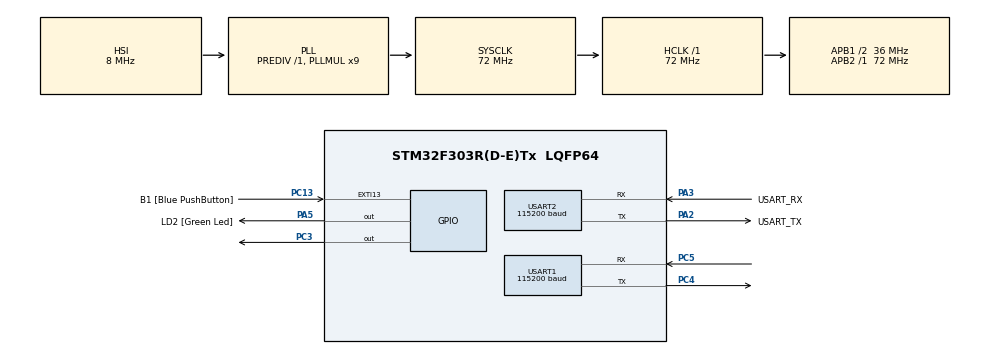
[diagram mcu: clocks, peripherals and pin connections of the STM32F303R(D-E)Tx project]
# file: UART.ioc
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Dma.Request0=USART2_RX
Dma.USART2_RX.0.Direction=DMA_PERIPH_TO_MEMORY
Dma.USART2_RX.0.Instance=DMA1_Channel6
Dma.USART2_RX.0.MemDataAlignment=DMA_MDATAALIGN_BYTE
Dma.USART2_RX.0.MemInc=DMA_MINC_ENABLE
Dma.USART2_RX.0.Mode=DMA_CIRCULAR
Dma.USART2_RX.0.PeriphDataAlignment=DMA_PDATAALIGN_BYTE
Dma.USART2_RX.0.PeriphInc=DMA_PINC_DISABLE
Dma.USART2_RX.0.Priority=DMA_PRIORITY_LOW
Mcu.Family=STM32F3
Mcu.Name=STM32F303R(D-E)Tx
Mcu.Package=LQFP64
NVIC.DMA1_Channel6_IRQn=true\:0\:0\:false\:false\:true\:false\:true\:true
NVIC.PriorityGroup=NVIC_PRIORITYGROUP_0
NVIC.USART1_IRQn=true\:0\:0\:false\:false\:true\:true\:true\:true
NVIC.USART2_IRQn=true\:0\:0\:false\:false\:true\:true\:true\:true
PA13.GPIO_Label=TMS
PA13.Mode=Serial_Wire
PA13.Signal=SYS_JTMS-SWDIO
PA14.GPIO_Label=TCK
PA14.Mode=Serial_Wire
PA14.Signal=SYS_JTCK-SWCLK
PA2.GPIO_Label=USART_TX
PA2.GPIO_Mode=GPIO_MODE_AF_PP
PA2.GPIO_PuPd=GPIO_NOPULL
PA2.GPIO_Speed=GPIO_SPEED_FREQ_LOW
PA2.Mode=Asynchronous
PA2.Signal=USART2_TX
PA3.GPIO_Label=USART_RX
PA3.GPIO_Mode=GPIO_MODE_AF_PP
PA3.GPIO_PuPd=GPIO_NOPULL
PA3.GPIO_Speed=GPIO_SPEED_FREQ_LOW
PA3.Mode=Asynchronous
PA3.Signal=USART2_RX
PA5.GPIO_Label=LD2 [Green Led]
PA5.GPIO_Mode=GPIO_MODE_OUTPUT_PP
PA5.GPIO_PuPd=GPIO_NOPULL
PA5.GPIO_Speed=GPIO_SPEED_FREQ_LOW
PA5.Signal=GPIO_Output
PB3.GPIO_Label=SWO
PB3.Signal=SYS_JTDO-TRACESWO
PC13.GPIO_Label=B1 [Blue PushButton]
PC13.GPIO_ModeDefaultEXTI=GPIO_MODE_IT_FALLING
PC13.Signal=GPXTI13
PC14-OSC32_IN.Mode=LSE-External-Oscillator
PC14-OSC32_IN.Signal=RCC_OSC32_IN
PC15-OSC32_OUT.Mode=LSE-External-Oscillator
PC15-OSC32_OUT.Signal=RCC_OSC32_OUT
PC3.Signal=GPIO_Output
PC4.Mode=Asynchronous
PC4.Signal=USART1_TX
PC5.Mode=Asynchronous
PC5.Signal=USART1_RX
PF0-OSC_IN.Mode=HSE-External-Clock-Source
PF0-OSC_IN.Signal=RCC_OSC_IN
PF1-OSC_OUT.Signal=RCC_OSC_OUT
ProjectManager.HeapSize=0x200
ProjectManager.StackSize=0x400
ProjectManager.TargetToolchain=STM32CubeIDE
RCC.AHBFreq_Value=72000000
RCC.APB1CLKDivider=RCC_HCLK_DIV2
RCC.APB1Freq_Value=36000000
RCC.APB1TimFreq_Value=72000000
RCC.APB2Freq_Value=72000000
RCC.APB2TimFreq_Value=72000000
RCC.CortexFreq_Value=72000000
RCC.HCLKFreq_Value=72000000
RCC.HSE_VALUE=8000000
RCC.HSI_VALUE=8000000
RCC.PLLM=8
RCC.PLLMUL=RCC_PLL_MUL9
RCC.PLLN=336
RCC.PLLP=RCC_PLLP_DIV4
RCC.PLLQ=7
RCC.RCC_PLLsource_Clock_Source_FROM_HSE=RCC_HSE_PREDIV_DIV2
RCC.SYSCLKFreq_VALUE=72000000
RCC.SYSCLKSourceVirtual=RCC_SYSCLKSOURCE_PLLCLK
RCC.USBFreq_Value=72000000
USART1.BaudRate=115200
USART1.VirtualMode-Asynchronous=VM_ASYNC
USART2.BaudRate=115200
USART2.VirtualMode-Asynchronous=VM_ASYNC
board=NUCLEO-F303RE

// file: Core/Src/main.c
/* USER CODE BEGIN Header */
/* USER CODE END Header */
#include "main.h"
#include "packet_sender.h"

UART_HandleTypeDef huart1;
UART_HandleTypeDef huart2;
DMA_HandleTypeDef hdma_usart2_rx;

/* USER CODE BEGIN PV */
uint8_t MSG[35] = {'\0'};
uint8_t X = 0;
uint8_t rx_data = 0;
uint8_t rx_buffer[256];
int rx_index = 0;
/* USER CODE END PV */

void SystemClock_Config(void);
static void MX_GPIO_Init(void);
static void MX_DMA_Init(void);
static void MX_USART2_UART_Init(void);
static void MX_USART1_UART_Init(void);
/* USER CODE BEGIN PFP */

void HAL_UART_RxCpltCallback(UART_HandleTypeDef *huart);
void ProcessReceivedData(char *data);
/* USER CODE END PFP */

int main(void)
{

  /* MCU Configuration--------------------------------------------------------*/

  /* Reset of all peripherals, Initializes the Flash interface and the Systick. */
  HAL_Init();

  /* Configure the system clock */
  SystemClock_Config();

  /* Initialize all configured peripherals */
  MX_GPIO_Init();
  MX_DMA_Init();
  MX_USART2_UART_Init();
  MX_USART1_UART_Init();

  /* USER CODE BEGIN 2 */

  // Initialize reception with interrupt
  HAL_UART_Receive_IT(&huart1, rx_buffer, 1);

  int cnt1 = 0;
  int cnt2 = 0;
  int cnt3 = 0;
  int cnt4 = 0;
  /* USER CODE END 2 */

  /* Infinite loop */
  /* USER CODE BEGIN WHILE */

  while (1)
  {
	          Send_Packet(cnt1, cnt2, cnt3, cnt4);
	          HAL_Delay(1000); // Delay de 1 segundo
     //sprintf(MSG, "Hello Dudes! Tracing X = %d\r\n", X);
	  //HAL_UART_Transmit(&huart1, MSG, sizeof(MSG), 100);
	  //HAL_Delay(500);
	  HAL_GPIO_TogglePin(GPIOA, LD2_Pin);
	  cnt1++;
	  cnt2 = cnt1+1;
	  cnt3 = cnt2+2;
	  cnt4 = cnt3+3;
	  //X++;
  }
    /* USER CODE END WHILE */

}

void SystemClock_Config(void)
{
  RCC_OscInitTypeDef RCC_OscInitStruct = {0};
  RCC_ClkInitTypeDef RCC_ClkInitStruct = {0};
  RCC_PeriphCLKInitTypeDef PeriphClkInit = {0};

  /** Initializes the RCC Oscillators according to the specified parameters
  * in the RCC_OscInitTypeDef structure.
  */
  RCC_OscInitStruct.OscillatorType = RCC_OSCILLATORTYPE_HSI;
  RCC_OscInitStruct.HSIState = RCC_HSI_ON;
  RCC_OscInitStruct.HSICalibrationValue = RCC_HSICALIBRATION_DEFAULT;
  RCC_OscInitStruct.PLL.PLLState = RCC_PLL_ON;
  RCC_OscInitStruct.PLL.PLLSource = RCC_PLLSOURCE_HSI;
  RCC_OscInitStruct.PLL.PLLMUL = RCC_PLL_MUL9;
  RCC_OscInitStruct.PLL.PREDIV = RCC_PREDIV_DIV1;
  if (HAL_RCC_OscConfig(&RCC_OscInitStruct) != HAL_OK)
  {
    Error_Handler();
  }

  /** Initializes the CPU, AHB and APB buses clocks
  */
  RCC_ClkInitStruct.ClockType = RCC_CLOCKTYPE_HCLK|RCC_CLOCKTYPE_SYSCLK
                              |RCC_CLOCKTYPE_PCLK1|RCC_CLOCKTYPE_PCLK2;
  RCC_ClkInitStruct.SYSCLKSource = RCC_SYSCLKSOURCE_PLLCLK;
  RCC_ClkInitStruct.AHBCLKDivider = RCC_SYSCLK_DIV1;
  RCC_ClkInitStruct.APB1CLKDivider = RCC_HCLK_DIV2;
  RCC_ClkInitStruct.APB2CLKDivider = RCC_HCLK_DIV1;

  if (HAL_RCC_ClockConfig(&RCC_ClkInitStruct, FLASH_LATENCY_2) != HAL_OK)
  {
    Error_Handler();
  }
  PeriphClkInit.PeriphClockSelection = RCC_PERIPHCLK_USART1|RCC_PERIPHCLK_USART2;
  PeriphClkInit.Usart1ClockSelection = RCC_USART1CLKSOURCE_PCLK2;
  PeriphClkInit.Usart2ClockSelection = RCC_USART2CLKSOURCE_PCLK1;
  if (HAL_RCCEx_PeriphCLKConfig(&PeriphClkInit) != HAL_OK)
  {
    Error_Handler();
  }
}

static void MX_USART1_UART_Init(void)
{

  huart1.Instance = USART1;
  huart1.Init.BaudRate = 115200;
  huart1.Init.WordLength = UART_WORDLENGTH_8B;
  huart1.Init.StopBits = UART_STOPBITS_1;
  huart1.Init.Parity = UART_PARITY_NONE;
  huart1.Init.Mode = UART_MODE_TX_RX;
  huart1.Init.HwFlowCtl = UART_HWCONTROL_NONE;
  huart1.Init.OverSampling = UART_OVERSAMPLING_16;
  huart1.Init.OneBitSampling = UART_ONE_BIT_SAMPLE_DISABLE;
  huart1.AdvancedInit.AdvFeatureInit = UART_ADVFEATURE_NO_INIT;
  if (HAL_UART_Init(&huart1) != HAL_OK)
  {
    Error_Handler();
  }

}

static void MX_USART2_UART_Init(void)
{

  huart2.Instance = USART2;
  huart2.Init.BaudRate = 115200;
  huart2.Init.WordLength = UART_WORDLENGTH_8B;
  huart2.Init.StopBits = UART_STOPBITS_1;
  huart2.Init.Parity = UART_PARITY_NONE;
  huart2.Init.Mode = UART_MODE_TX_RX;
  huart2.Init.HwFlowCtl = UART_HWCONTROL_NONE;
  huart2.Init.OverSampling = UART_OVERSAMPLING_16;
  huart2.Init.OneBitSampling = UART_ONE_BIT_SAMPLE_DISABLE;
  huart2.AdvancedInit.AdvFeatureInit = UART_ADVFEATURE_NO_INIT;
  if (HAL_UART_Init(&huart2) != HAL_OK)
  {
    Error_Handler();
  }

}

static void MX_DMA_Init(void)
{

  /* DMA controller clock enable */
  __HAL_RCC_DMA1_CLK_ENABLE();

  /* DMA interrupt init */
  /* DMA1_Channel6_IRQn interrupt configuration */
  HAL_NVIC_SetPriority(DMA1_Channel6_IRQn, 0, 0);
  HAL_NVIC_EnableIRQ(DMA1_Channel6_IRQn);

}

static void MX_GPIO_Init(void)
{
  GPIO_InitTypeDef GPIO_InitStruct = {0};

  /* GPIO Ports Clock Enable */
  __HAL_RCC_GPIOC_CLK_ENABLE();
  __HAL_RCC_GPIOF_CLK_ENABLE();
  __HAL_RCC_GPIOA_CLK_ENABLE();
  __HAL_RCC_GPIOB_CLK_ENABLE();

  /*Configure GPIO pin Output Level */
  HAL_GPIO_WritePin(GPIOC, GPIO_PIN_3, GPIO_PIN_RESET);

  /*Configure GPIO pin Output Level */
  HAL_GPIO_WritePin(LD2_GPIO_Port, LD2_Pin, GPIO_PIN_RESET);

  /*Configure GPIO pin : B1_Pin */
  GPIO_InitStruct.Pin = B1_Pin;
  GPIO_InitStruct.Mode = GPIO_MODE_IT_FALLING;
  GPIO_InitStruct.Pull = GPIO_NOPULL;
  HAL_GPIO_Init(B1_GPIO_Port, &GPIO_InitStruct);

  /*Configure GPIO pin : PC3 */
  GPIO_InitStruct.Pin = GPIO_PIN_3;
  GPIO_InitStruct.Mode = GPIO_MODE_OUTPUT_PP;
  GPIO_InitStruct.Pull = GPIO_NOPULL;
  GPIO_InitStruct.Speed = GPIO_SPEED_FREQ_LOW;
  HAL_GPIO_Init(GPIOC, &GPIO_InitStruct);

  /*Configure GPIO pin : LD2_Pin */
  GPIO_InitStruct.Pin = LD2_Pin;
  GPIO_InitStruct.Mode = GPIO_MODE_OUTPUT_PP;
  GPIO_InitStruct.Pull = GPIO_NOPULL;
  GPIO_InitStruct.Speed = GPIO_SPEED_FREQ_LOW;
  HAL_GPIO_Init(LD2_GPIO_Port, &GPIO_InitStruct);

}

/* USER CODE BEGIN 4 */
/*
void HAL_UART_RxCpltCallback(UART_HandleTypeDef *huart)
{
  if (huart == &huart1)
  {
    // Store received data in the buffer
    rx_buffer[rx_index++] = rx_data;

    // Echo the received data
    HAL_UART_Transmit(&huart1, &rx_data, 1, HAL_MAX_DELAY);

    // Reset index and buffer if end of line is received
    if (rx_data == '\n')
    {
      rx_index = 0;
      memset(rx_buffer, 0, sizeof(rx_buffer+1));
    }

    // Restart reception
    HAL_UART_Receive_IT(&huart1, &rx_data, 1);
  }
}

*/

void ProcessReceivedData(char *data)
{
  // Process the received data here
  // This is a placeholder function
  sprintf(MSG, "Received: %s\r\n", data);
  HAL_UART_Transmit(&huart1, (uint8_t*)MSG, strlen(MSG), HAL_MAX_DELAY);
}

/* USER CODE END 4 */

void Error_Handler(void)
{
}
